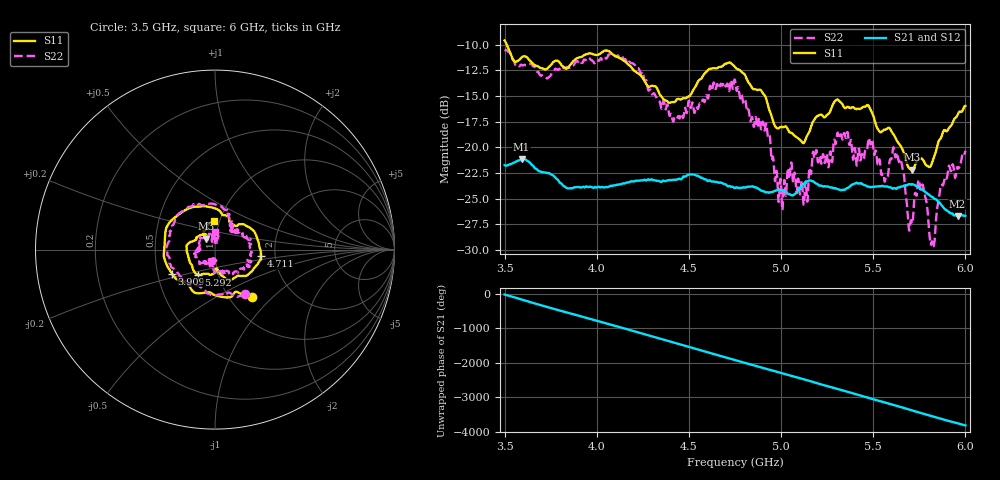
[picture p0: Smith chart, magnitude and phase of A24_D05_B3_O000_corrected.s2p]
! Created with skrf 1.9.0 (http://scikit-rf.org).
# Hz S RI R 50.0
!freq ReS11 ImS11 ReS21 ImS21 ReS12 ImS12 ReS22 ImS22
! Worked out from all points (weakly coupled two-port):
!   1601 points, 3.5 GHz to 6 GHz, reference 50 ohm
!   highest |S21| = -21.14 dB at 3.592 GHz (marker M1); lowest = -26.7 dB at 5.958 GHz (marker M2)
!   lowest |S11| = -22.2 dB at 5.711 GHz (marker M3), VSWR 1.17, Z = 45 + j5.46 ohm
!   |S11| at or under -10 dB: 3.512 GHz to end of sweep
!   |S22| runs from -29.6 to -10.5 dB; largest |S21 - S12| = 0.00091
!   S11 on the Smith chart (normalised r, x): 3.5 GHz: 1.27, -0.75; 3.909 GHz: 0.59, -0.17; 4.711 GHz: 1.68, -0.12; 5.292 GHz: 0.80, -0.23; 6 GHz: 0.94, +0.31
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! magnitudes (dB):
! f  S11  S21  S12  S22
! 3.5 GHz  -9.6  -21.7  -21.7  -10.5
! 3.592 GHz  -11.2  -21.1  -21.1  -12.0
! 3.909 GHz  -11.2  -23.9  -23.9  -11.5
! 3.917 GHz  -11.2  -23.9  -23.9  -11.8
! 4.128 GHz  -11.3  -23.6  -23.6  -11.2
! 4.334 GHz  -14.5  -23.3  -23.2  -15.4
! 4.711 GHz  -11.8  -23.8  -23.7  -13.9
! 4.75 GHz  -12.2  -23.9  -23.9  -13.5
! 4.928 GHz  -15.8  -24.4  -24.4  -18.9
! 4.997 GHz  -18.0  -24.2  -24.1  -23.1
! 5.047 GHz  -18.5  -24.6  -24.6  -22.9
! 5.133 GHz  -19.2  -23.4  -23.4  -23.3
! 5.167 GHz  -17.7  -23.3  -23.2  -21.6
! 5.292 GHz  -15.5  -24.0  -24.0  -19.4
! 5.584 GHz  -18.1  -23.9  -23.8  -22.1
! 5.641 GHz  -19.7  -23.9  -23.9  -21.4
! 5.711 GHz  -22.2  -23.6  -23.5  -27.4
! 5.758 GHz  -21.1  -24.1  -24.0  -24.0
! 5.822 GHz  -21.4  -24.8  -24.8  -29.5
! 5.87 GHz  -19.0  -25.6  -25.6  -23.7
! 5.958 GHz  -16.8  -26.7  -26.6  -22.1
! 6 GHz  -16.0  -26.7  -26.6  -20.3
